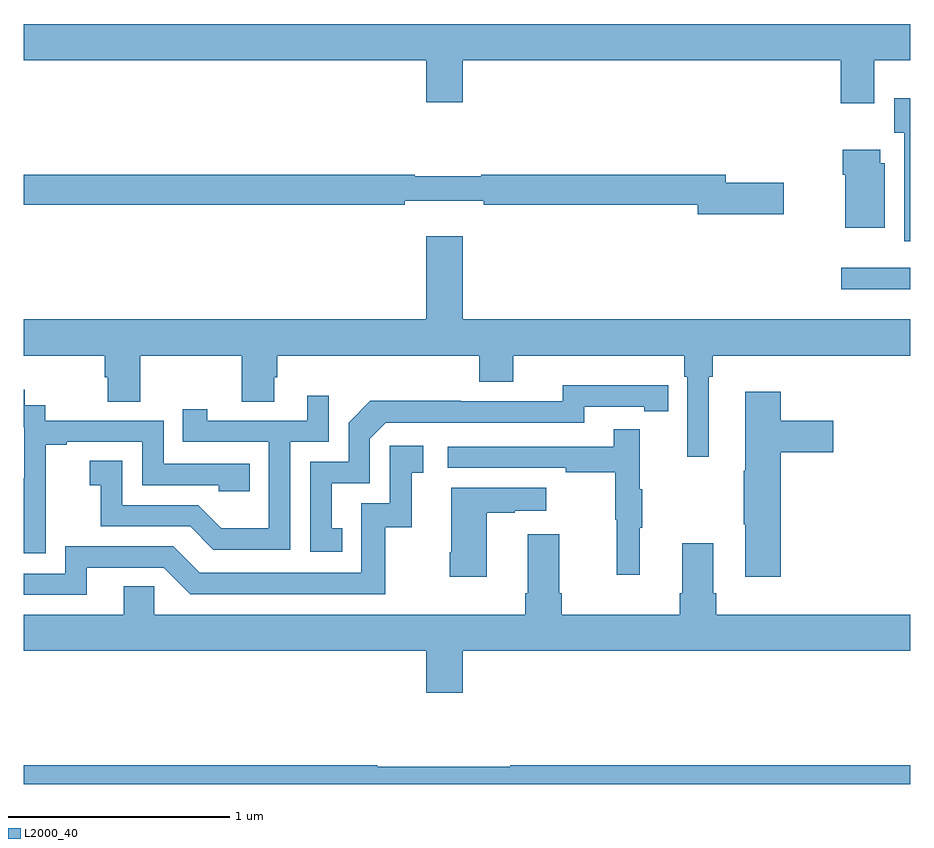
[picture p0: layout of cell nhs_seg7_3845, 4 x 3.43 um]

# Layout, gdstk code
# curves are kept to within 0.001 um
import gdstk
lib = gdstk.Library(unit=1e-6, precision=1e-09)
def R(c, l, rs):  # rectangles x0, y0, x1, y1
    for r in rs: c.add(gdstk.rectangle(r[:2], r[2:], *l))
def P(c, l, *ps):  # polygons
    for p in ps: c.add(gdstk.Polygon(p, *l))
L2000_40 = (2000, 40)

nhs_seg7_3845 = lib.new_cell('nhs_seg7_3845')
R(nhs_seg7_3845, L2000_40, [(358.689,1018.232,359,1018.329)])
P(nhs_seg7_3845, L2000_40, [(358.837,1019.264),(359,1019.264),(359,1019.428),(355,1019.428),(355,1019.264),(356.816,1019.264),(356.816,1019.076),(356.98,1019.076),(356.98,1019.264),(358.685,1019.264),(358.685,1019.07),(358.837,1019.07)],
  [(359,1019.092),(358.928,1019.092),(358.928,1018.938),(358.973,1018.938),(358.973,1018.449),(359,1018.449)],
  [(358.885,1018.8),(358.864,1018.8),(358.864,1018.861),(358.694,1018.861),(358.694,1018.748),(358.706,1018.748),(358.706,1018.508),(358.885,1018.508)],
  [(358.429,1018.712),(358.168,1018.712),(358.168,1018.748),(357.064,1018.748),(357.064,1018.741),(356.764,1018.741),(356.764,1018.748),(355,1018.748),(355,1018.612),(356.72,1018.612),(356.72,1018.631),(357.076,1018.631),(357.076,1018.612),(358.04,1018.612),(358.04,1018.57),(358.429,1018.57)],
  [(358.09,1017.836),(358.109,1017.836),(358.109,1017.932),(359,1017.932),(359,1018.096),(356.98,1018.096),(356.98,1018.471),(356.816,1018.471),(356.816,1018.096),(355,1018.096),(355,1017.932),(355.367,1017.932),(355.367,1017.834),(355.379,1017.834),(355.379,1017.724),(355.527,1017.724),(355.527,1017.932),(355.984,1017.932),(355.984,1017.724),(356.131,1017.724),(356.131,1017.834),(356.144,1017.834),(356.144,1017.932),(357.056,1017.932),(357.056,1017.815),(357.208,1017.815),(357.208,1017.932),(357.98,1017.932),(357.98,1017.836),(357.993,1017.836),(357.993,1017.477),(358.09,1017.477)],
  [(356.438,1017.153),(356.389,1017.153),(356.389,1017.357),(356.562,1017.357),(356.562,1017.558),(356.634,1017.63),(357.528,1017.63),(357.528,1017.702),(357.8,1017.702),(357.8,1017.682),(357.908,1017.682),(357.908,1017.798),(357.432,1017.799),(357.432,1017.726),(356.972,1017.726),(356.972,1017.728),(356.564,1017.728),(356.466,1017.63),(356.466,1017.453),(356.292,1017.453),(356.292,1017.048),(356.438,1017.048)],
  [(355.101,1017.247),(355.1,1017.247),(355.1,1017.531),(355.195,1017.531),(355.195,1017.543),(355.536,1017.543),(355.536,1017.348),(355.881,1017.348),(355.881,1017.321),(356.021,1017.321),(356.021,1017.444),(355.632,1017.444),(355.632,1017.639),(355.098,1017.639),(355.098,1017.708),(355.006,1017.708),(355.006,1017.778),(355,1017.778),(355,1017.609),(355.002,1017.609),(355.002,1017.38),(355.001,1017.38),(355.001,1017.151),(355,1017.151),(355,1017.041),(355.101,1017.041)],
  [(358.415,1017.497),(358.651,1017.497),(358.651,1017.639),(358.415,1017.639),(358.415,1017.769),(358.256,1017.769),(358.256,1017.413),(358.249,1017.413),(358.249,1017.172),(358.256,1017.172),(358.256,1016.934),(358.415,1016.934)],
  [(356.202,1017.543),(356.376,1017.543),(356.376,1017.751),(356.279,1017.751),(356.279,1017.639),(355.828,1017.639),(355.828,1017.691),(355.717,1017.691),(355.717,1017.543),(356.106,1017.543),(356.106,1017.154),(355.892,1017.154),(355.788,1017.258),(355.446,1017.258),(355.446,1017.457),(355.299,1017.457),(355.299,1017.347),(355.348,1017.347),(355.348,1017.162),(355.751,1017.162),(355.856,1017.057),(356.202,1017.057)],
  [(357.779,1017.155),(357.79,1017.155),(357.79,1017.329),(357.779,1017.329),(357.779,1017.601),(357.661,1017.601),(357.661,1017.522),(356.913,1017.522),(356.913,1017.426),(357.445,1017.426),(357.445,1017.406),(357.669,1017.406),(357.669,1017.192),(357.676,1017.192),(357.676,1016.943),(357.779,1016.943)],
  [(355.285,1016.976),(355.632,1016.976),(355.752,1016.856),(356.632,1016.856),(356.632,1017.159),(356.75,1017.159),(356.75,1017.405),(356.803,1017.405),(356.803,1017.526),(356.652,1017.526),(356.652,1017.267),(356.523,1017.267),(356.523,1016.952),(355.794,1016.952),(355.674,1017.072),(355.188,1017.072),(355.188,1016.949),(355,1016.949),(355,1016.853),(355.285,1016.853)],
  [(357.088,1017.223),(357.215,1017.223),(357.215,1017.233),(357.358,1017.233),(357.358,1017.337),(356.93,1017.337),(356.93,1017.046),(356.923,1017.046),(356.923,1016.934),(357.088,1016.934)],
  [(356.98,1016.6),(359,1016.6),(359,1016.764),(358.124,1016.764),(358.124,1016.86),(358.111,1016.86),(358.111,1017.085),(357.971,1017.085),(357.971,1016.86),(357.959,1016.86),(357.959,1016.764),(357.428,1016.764),(357.428,1016.86),(357.415,1016.86),(357.415,1017.127),(357.275,1017.127),(357.275,1016.86),(357.263,1016.86),(357.263,1016.764),(355.59,1016.764),(355.59,1016.891),(355.451,1016.891),(355.451,1016.764),(355,1016.764),(355,1016.6),(356.816,1016.6),(356.816,1016.412),(356.98,1016.412)],
  [(359,1016.084),(357.196,1016.084),(357.196,1016.077),(356.596,1016.077),(356.596,1016.084),(355,1016.084),(355,1016),(359,1016)])

lib.write_gds('nhs_seg7_3845.gds')
